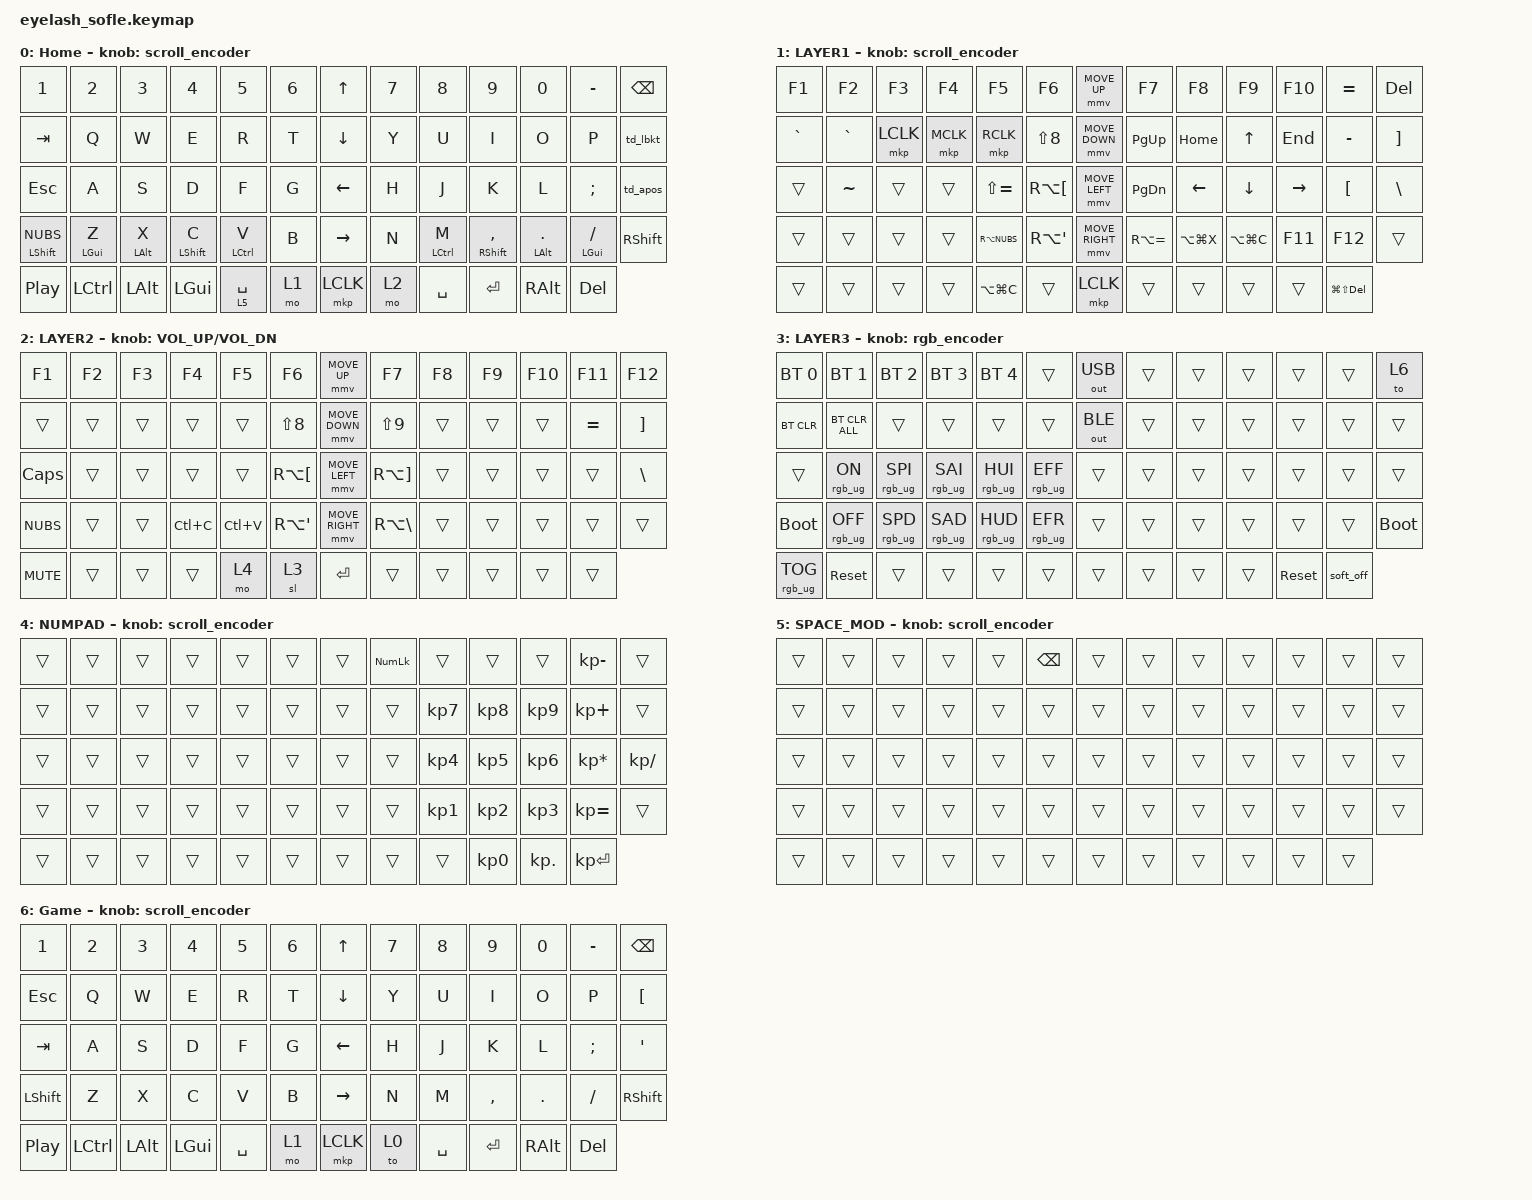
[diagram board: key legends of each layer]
#include <input/processors.dtsi>
#include <zephyr/dt-bindings/input/input-event-codes.h>
#include <behaviors.dtsi>
#include <dt-bindings/zmk/bt.h>
#include <dt-bindings/zmk/ext_power.h>
#include <dt-bindings/zmk/keys.h>
#include <dt-bindings/zmk/pointing.h>
#include <dt-bindings/zmk/rgb.h>
#include <dt-bindings/zmk/outputs.h>

#define ZMK_POINTING_DEFAULT_MOVE_VAL 1200  // 600
#define ZMK_POINTING_DEFAULT_SCRL_VAL 25   // 10

#define MO_TOG(layer) &mo_tog layer layer   // Macro to apply momentary-layer-on-hold/toggle-layer-on-tap to a specific layer

&mmv_input_listener { input-processors = <&zip_xy_scaler 1 1>; };

&msc_input_listener { input-processors = <&zip_scroll_scaler 2 1>; };

&msc {
    acceleration-exponent = <1>;      // 0
    time-to-max-speed-ms = <100>;       // 300
    delay-ms = <0>;                   // 0
};

&mmv {
    time-to-max-speed-ms = <500>;
    acceleration-exponent = <1>;
    trigger-period-ms = <16>;
};


/* Homerow mods */

#define KEYS_L 0 1 2 3 4 5 12 13 14 15 16 17 24 25 26 27 28 29 36 37 38 39 40 41 48 49 50 51 52
#define KEYS_R 6 7 8 9 10 11 18 19 20 21 22 23 30 31 32 33 34 35 42 43 44 45 46 47 54 55 56 57 58

/ {
      behaviors {
        /* Not used */
        mo_tog: behavior_mo_tog {
            compatible = "zmk,behavior-hold-tap";
            #binding-cells = <2>;
            flavor = "hold-preferred";
            tapping-term-ms = <200>;
            bindings = <&mo>, <&tog>;
        };
        /* Not used */
        tol1: tol1 {
            compatible = "zmk,behavior-mod-morph";
            #binding-cells = <0>;
            bindings = <&kp N1>, <&tog 1>;
            mods = <(MOD_LGUI|MOD_RGUI)>;
        };
        /* Hold-tap for space that activates conditional layer */
        space_ht: space_hold_tap {
            compatible = "zmk,behavior-hold-tap";
            #binding-cells = <2>;
            flavor = "balanced";
            tapping-term-ms = <200>;
            quick-tap-ms = <125>;
            bindings = <&mo>, <&kp>;
        };
        hml: hml_hold_tap {
            compatible = "zmk,behavior-hold-tap";
            #binding-cells = <2>;
            flavor = "balanced";
            tapping-term-ms = <280>;
            require-prior-idle-ms = <150>;
            hold-trigger-key-positions = <KEYS_R>;
            hold-trigger-on-release;
            bindings = <&kp>, <&kp>;
        };
        hmr: hmr_hold_tap {
            compatible = "zmk,behavior-hold-tap";
            #binding-cells = <2>;
            flavor = "balanced";
            tapping-term-ms = <280>;
            require-prior-idle-ms = <150>;
            hold-trigger-key-positions = <KEYS_L>;
            hold-trigger-on-release;
            bindings = <&kp>, <&kp>;
        };
    };
    /* Combo to toggle layer 1 from layer 0 */
    combos {
        compatible = "zmk,combos";
        toggle_l1 {
            timeout-ms = <200>;
            key-positions = <0 57>;
            layers = <0>;
            bindings = <&tog 1>;
        };
    };

    scroll_encoder: scroll_encoder {
        compatible = "zmk,behavior-sensor-rotate";
        #sensor-binding-cells = <0>;
        bindings = <&msc SCRL_DOWN>, <&msc SCRL_UP>;
        tap-ms = <100>;
    };

    rgb_encoder: rgb_encoder {
        compatible = "zmk,behavior-sensor-rotate";
        #sensor-binding-cells = <0>;
        bindings = <&rgb_ug RGB_BRI>, <&rgb_ug RGB_BRD>;
        tap-ms = <100>;
    };

    behaviors {
        td_lbkt: tap_dance_lbkt {
            compatible = "zmk,behavior-tap-dance";
            #binding-cells = <0>;
            tapping-term-ms = <200>;
            bindings = <&kp LBKT>, <&kp RBKT>;
        };

        td_apos: tap_dance_apos {
            compatible = "zmk,behavior-tap-dance";
            #binding-cells = <0>;
            tapping-term-ms = <200>;
            bindings = <&kp APOS>, <&kp BSLH>;
        };
    };

/* align lines by entering 
:!tr -s ' ' | column -t -s "&" -o "&"
in vim */
    keymap {
        compatible = "zmk,keymap";

        layer0 {
            bindings = <
&kp N1         &kp N2      &kp N3       &kp N4       &kp N5            &kp N6 &kp UP_ARROW    &kp N7 &kp N8       &kp N9           &kp N0        &kp MINUS      &kp BACKSPACE
&kp TAB        &kp Q       &kp W        &kp E        &kp R             &kp T  &kp DOWN_ARROW  &kp Y  &kp U        &kp I            &kp O         &kp P          &td_lbkt
&kp ESC        &kp A       &kp S        &kp D        &kp F             &kp G  &kp LEFT_ARROW  &kp H  &kp J        &kp K            &kp L         &kp SEMI       &td_apos
&mt LSHFT NUBS &hml LGUI Z &hml LALT X  &hml LSHFT C &hml LCTRL V      &kp B  &kp RIGHT_ARROW &kp N  &hmr LCTRL M &hmr RSHFT COMMA &hmr LALT DOT &hmr LGUI FSLH &kp RIGHT_SHIFT
&kp C_PP       &kp LCTRL   &kp LEFT_ALT &kp LEFT_GUI &space_ht 5 SPACE &mo 1  &mkp LCLK       &mo 2  &kp SPACE    &kp ENTER        &kp RALT      &kp DELETE     
            >;
            display-name = "Home";
            sensor-bindings = <&scroll_encoder>;
        };

        layer_1 {
            bindings = <
&kp F1    &kp F2    &kp F3    &kp F4    &kp F5        &kp F6       &mmv MOVE_UP    &kp F7        &kp F8        &kp F9        &kp F10   &kp EQUAL        &kp DEL
&kp GRAVE &kp GRAVE &mkp LCLK &mkp MCLK &mkp RCLK     &kp LS(N8)   &mmv MOVE_DOWN  &kp PG_UP     &kp HOME      &kp UP        &kp END   &kp MINUS        &kp RBKT
&trans    &kp TILDE &trans    &trans    &kp LS(EQUAL) &kp RA(LBKT) &mmv MOVE_LEFT  &kp PG_DN     &kp LEFT      &kp DOWN      &kp RIGHT &kp LEFT_BRACKET &kp BSLH
&trans    &trans    &trans    &trans    &kp RA(NUBS)  &kp RA(APOS) &mmv MOVE_RIGHT &kp RA(EQUAL) &kp LA(LG(X)) &kp LA(LG(C)) &kp F11   &kp F12          &trans
&trans    &trans    &trans    &trans    &kp LA(LG(C)) &trans       &mkp LCLK       &trans        &trans        &trans        &trans    &kp LG(LS(DEL))
            >;

            display-name = "LAYER1";
            sensor-bindings = <&scroll_encoder>;
        };

        layer_2 {
            bindings = <
&kp F1     &kp F2 &kp F3 &kp F4    &kp F5    &kp F6       &mmv MOVE_UP    &kp F7       &kp F8 &kp F9 &kp F10 &kp F11   &kp F12
&trans     &trans &trans &trans    &trans    &kp LS(N8)   &mmv MOVE_DOWN  &kp LS(N9)   &trans &trans &trans  &kp EQUAL &kp RBKT
&kp CAPS   &trans &trans &trans    &trans    &kp RA(LBKT) &mmv MOVE_LEFT  &kp RA(RBKT) &trans &trans &trans  &trans    &kp BSLH
&kp NUBS   &trans &trans &kp LC(C) &kp LC(V) &kp RA(APOS) &mmv MOVE_RIGHT &kp RA(BSLH) &trans &trans &trans  &trans    &trans
&kp C_MUTE &trans &trans &trans    &mo 4     &sl 3        &kp ENTER       &trans       &trans &trans &trans  &trans
            >;

            display-name = "LAYER2";
            sensor-bindings = <&inc_dec_kp C_VOLUME_UP C_VOL_DN>;
        };

        layer_3 {
            bindings = <
&bt BT_SEL 0    &bt BT_SEL 1    &bt BT_SEL 2    &bt BT_SEL 3    &bt BT_SEL 4    &trans          &out OUT_USB &trans &trans &trans &trans     &trans &to 6
&bt BT_CLR      &bt BT_CLR_ALL  &trans          &trans          &trans          &trans          &out OUT_BLE &trans &trans &trans &trans     &trans &trans
&trans          &rgb_ug RGB_ON  &rgb_ug RGB_SPI &rgb_ug RGB_SAI &rgb_ug RGB_HUI &rgb_ug RGB_EFF &trans       &trans &trans &trans &trans     &trans &trans
&bootloader     &rgb_ug RGB_OFF &rgb_ug RGB_SPD &rgb_ug RGB_SAD &rgb_ug RGB_HUD &rgb_ug RGB_EFR &trans       &trans &trans &trans &trans     &trans &bootloader
&rgb_ug RGB_TOG &sys_reset      &trans          &trans          &trans          &trans          &trans       &trans &trans &trans &sys_reset &soft_off
            >;
            display-name = "LAYER3";
            sensor-bindings = <&rgb_encoder>;
        };

        layer_numpad {
            bindings = <
                &trans &trans &trans &trans &trans &trans &trans &kp KP_NUM &trans    &trans    &trans     &kp KP_MINUS    &trans
                &trans &trans &trans &trans &trans &trans &trans &trans     &kp KP_N7 &kp KP_N8 &kp KP_N9  &kp KP_PLUS     &trans
                &trans &trans &trans &trans &trans &trans &trans &trans     &kp KP_N4 &kp KP_N5 &kp KP_N6  &kp KP_MULTIPLY &kp KP_SLASH
                &trans &trans &trans &trans &trans &trans &trans &trans     &kp KP_N1 &kp KP_N2 &kp KP_N3  &kp KP_EQUAL    &trans
                &trans &trans &trans &trans &trans &trans &trans &trans     &trans    &kp KP_N0 &kp KP_DOT &kp KP_ENTER
            >;
            display-name = "NUMPAD";
            sensor-bindings = <&scroll_encoder>;
        };

        layer_space_mod {
            bindings = <
                &trans &trans &trans &trans &trans &kp BACKSPACE &trans &trans &trans &trans &trans &trans &trans
                &trans &trans &trans &trans &trans &trans        &trans &trans &trans &trans &trans &trans &trans
                &trans &trans &trans &trans &trans &trans        &trans &trans &trans &trans &trans &trans &trans
                &trans &trans &trans &trans &trans &trans        &trans &trans &trans &trans &trans &trans &trans
                &trans &trans &trans &trans &trans &trans        &trans &trans &trans &trans &trans &trans
            >;
            display-name = "SPACE_MOD";
            sensor-bindings = <&scroll_encoder>;
        };
    layer_game {
	    bindings = <
		    &kp N1       &kp N2    &kp N3       &kp N4               &kp N5    &kp N6          &kp UP_ARROW    &kp N7 &kp N8    &kp N9    &kp N0   &kp MINUS  &kp BACKSPACE
		    &kp ESC      &kp Q     &kp W        &kp E                &kp R     &kp T           &kp DOWN_ARROW  &kp Y  &kp U     &kp I     &kp O    &kp P      &kp LBKT
		    &kp TAB      &kp A     &kp S        &kp D                &kp F     &kp G           &kp LEFT_ARROW  &kp H  &kp J     &kp K     &kp L    &kp SEMI   &kp APOS
		    &kp LSHFT    &kp Z     &kp X        &kp C                &kp V     &kp B           &kp RIGHT_ARROW &kp N  &kp M     &kp COMMA &kp DOT  &kp FSLH   &kp RIGHT_SHIFT
		    &kp C_PP     &kp LCTRL &kp LEFT_ALT &kp LEFT_GUI         &kp SPACE &mo 1           &mkp LCLK       &to 0  &kp SPACE &kp ENTER &kp RALT &kp DELETE
	    >;
	    display-name = "Game";
	    sensor-bindings = <&scroll_encoder>;
    };
    };
};
